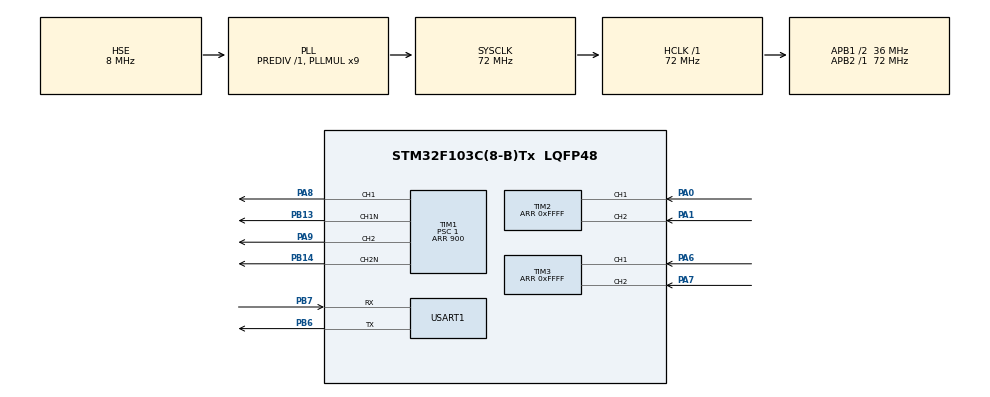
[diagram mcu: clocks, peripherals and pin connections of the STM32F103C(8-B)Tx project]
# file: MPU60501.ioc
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Mcu.Family=STM32F1
Mcu.Name=STM32F103C(8-B)Tx
Mcu.Package=LQFP48
NVIC.PriorityGroup=NVIC_PRIORITYGROUP_2
NVIC.TIM2_IRQn=true\:1\:0\:true\:false\:true\:true
NVIC.TIM3_IRQn=true\:1\:1\:true\:false\:true\:true
PA0-WKUP.Signal=S_TIM2_CH1_ETR
PA1.Signal=S_TIM2_CH2
PA13.Mode=Serial_Wire
PA13.Signal=SYS_JTMS-SWDIO
PA14.Mode=Serial_Wire
PA14.Signal=SYS_JTCK-SWCLK
PA6.Signal=S_TIM3_CH1
PA7.Signal=S_TIM3_CH2
PA8.GPIO_Speed=GPIO_SPEED_FREQ_HIGH
PA8.Signal=S_TIM1_CH1
PA9.GPIO_Speed=GPIO_SPEED_FREQ_HIGH
PA9.Signal=S_TIM1_CH2
PB13.GPIO_Speed=GPIO_SPEED_FREQ_HIGH
PB13.Mode=PWM Generation1 CH1 CH1N
PB13.Signal=TIM1_CH1N
PB14.GPIO_Speed=GPIO_SPEED_FREQ_HIGH
PB14.Mode=PWM Generation2 CH2 CH2N
PB14.Signal=TIM1_CH2N
PB6.Mode=Asynchronous
PB6.Signal=USART1_TX
PB7.Mode=Asynchronous
PB7.Signal=USART1_RX
PD0-OSC_IN.Mode=HSE-External-Oscillator
PD0-OSC_IN.Signal=RCC_OSC_IN
PD1-OSC_OUT.Mode=HSE-External-Oscillator
PD1-OSC_OUT.Signal=RCC_OSC_OUT
ProjectManager.HeapSize=0x200
ProjectManager.StackSize=0x400
ProjectManager.TargetToolchain=MDK-ARM V5
RCC.AHBFreq_Value=72000000
RCC.APB1CLKDivider=RCC_HCLK_DIV2
RCC.APB1Freq_Value=36000000
RCC.APB1TimFreq_Value=72000000
RCC.APB2Freq_Value=72000000
RCC.APB2TimFreq_Value=72000000
RCC.HCLKFreq_Value=72000000
RCC.PLLMUL=RCC_PLL_MUL9
RCC.PLLSourceVirtual=RCC_PLLSOURCE_HSE
RCC.SYSCLKFreq_VALUE=72000000
RCC.SYSCLKSource=RCC_SYSCLKSOURCE_PLLCLK
RCC.USBFreq_Value=72000000
SH.S_TIM1_CH1.0=TIM1_CH1,PWM Generation1 CH1 CH1N
SH.S_TIM1_CH2.0=TIM1_CH2,PWM Generation2 CH2 CH2N
SH.S_TIM2_CH1_ETR.0=TIM2_CH1,Encoder_Interface
SH.S_TIM2_CH2.0=TIM2_CH2,Encoder_Interface
SH.S_TIM3_CH1.0=TIM3_CH1,Encoder_Interface
SH.S_TIM3_CH2.0=TIM3_CH2,Encoder_Interface
TIM1.Channel-PWM\ Generation1\ CH1\ CH1N=TIM_CHANNEL_1
TIM1.Channel-PWM\ Generation2\ CH2\ CH2N=TIM_CHANNEL_2
TIM1.Period=900
TIM1.Prescaler=1
TIM1.Pulse-PWM\ Generation1\ CH1\ CH1N=450
TIM1.Pulse-PWM\ Generation2\ CH2\ CH2N=450
TIM2.EncoderMode=TIM_ENCODERMODE_TI12
TIM2.Period=0xFFFF
TIM3.EncoderMode=TIM_ENCODERMODE_TI12
TIM3.Period=0xFFFF
USART1.VirtualMode=VM_ASYNC
board=MPU60501

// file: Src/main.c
/**
  ******************************************************************************
  * File Name          : main.c xiao lin
  * Description        : Main program body
  ******************************************************************************
  ** This notice applies to any and all portions of this file
  * that are not between comment pairs USER CODE BEGIN and
  * USER CODE END. Other portions of this file, whether
  * inserted by the user or by software development tools
  * are owned by their respective copyright owners.
  *
  * COPYRIGHT(c) 2017 STMicroelectronics
  *
  * Redistribution and use in source and binary forms, with or without modification,
  * are permitted provided that the following conditions are met:
  *   1. Redistributions of source code must retain the above copyright notice,
  *      this list of conditions and the following disclaimer.
  *   2. Redistributions in binary form must reproduce the above copyright notice,
  *      this list of conditions and the following disclaimer in the documentation
  *      and/or other materials provided with the distribution.
  *   3. Neither the name of STMicroelectronics nor the names of its contributors
  *      may be used to endorse or promote products derived from this software
  *      without specific prior written permission.
  *
  * THIS SOFTWARE IS PROVIDED BY THE COPYRIGHT HOLDERS AND CONTRIBUTORS "AS IS"
  * AND ANY EXPRESS OR IMPLIED WARRANTIES, INCLUDING, BUT NOT LIMITED TO, THE
  * IMPLIED WARRANTIES OF MERCHANTABILITY AND FITNESS FOR A PARTICULAR PURPOSE ARE
  * DISCLAIMED. IN NO EVENT SHALL THE COPYRIGHT HOLDER OR CONTRIBUTORS BE LIABLE
  * FOR ANY DIRECT, INDIRECT, INCIDENTAL, SPECIAL, EXEMPLARY, OR CONSEQUENTIAL
  * DAMAGES (INCLUDING, BUT NOT LIMITED TO, PROCUREMENT OF SUBSTITUTE GOODS OR
  * SERVICES; LOSS OF USE, DATA, OR PROFITS; OR BUSINESS INTERRUPTION) HOWEVER
  * CAUSED AND ON ANY THEORY OF LIABILITY, WHETHER IN CONTRACT, STRICT LIABILITY,
  * OR TORT (INCLUDING NEGLIGENCE OR OTHERWISE) ARISING IN ANY WAY OUT OF THE USE
  * OF THIS SOFTWARE, EVEN IF ADVISED OF THE POSSIBILITY OF SUCH DAMAGE.
  *
  ******************************************************************************
  */

#include "main.h"
#include "stm32f1xx_hal.h"
#include "tim.h"
#include "usart.h"
#include "gpio.h"

/* USER CODE BEGIN Includes */
#include "mpuiic.h"
#include "mpu6050.h"
#include "math.h"
#include "kalman.h"
#include "scheduler.h"
#include "usart2.h"
#include "hc05.h"
#include "acquiring.h"
/* USER CODE END Includes */

/* USER CODE BEGIN PV */
/* Private variables ---------------------------------------------------------*/

/* USER CODE END PV */

void SystemClock_Config(void);

/* USER CODE BEGIN PFP */
/* Private function prototypes -----------------------------------------------*/

/* USER CODE END PFP */

/**
  * 函数功能: 主函数.
  * 输入参数: 无
  * 返 回 值: 无
  * 说    明: 无
  */
int main(void)
{

  /* MCU Configuration----------------------------------------------------------*/

  /* Reset of all peripherals, Initializes the Flash interface and the Systick. */

  /* 复位所有外设，初始化Flash接口和系统滴答定时器 */
  HAL_Init();

  /* Configure the system clock */

  /* 配置系统时钟 */
  SystemClock_Config();

  /* Initialize all configured peripherals */
   /* GPIO 初始化 */
  MX_GPIO_Init();

  /* pwm 初始化 */
  MX_TIM1_Init();

  /* 编码器 初始化 */
  MX_TIM2_Init();
  MX_TIM3_Init();

  /* 初始化串口并配置串口中断优先级 */
  MX_USART1_UART_Init();

  /* USER CODE BEGIN 2 */
  /* 初始化 */
	initalize();
  /* USER CODE END 2 */

  /* Infinite loop */
  /* USER CODE BEGIN WHILE */
  while (1)
  {

    /* 任务区 */
		Task_main();
  /* USER CODE END WHILE */

  }

}

/** System Clock Configuration
*/

/**
  * 函数功能: 系统时钟配置
  * 输入参数: 无
  * 返 回 值: 无
  * 说    明: 无
  */
void SystemClock_Config(void)
{

  RCC_OscInitTypeDef RCC_OscInitStruct;
  RCC_ClkInitTypeDef RCC_ClkInitStruct;

    /**Initializes the CPU, AHB and APB busses clocks
    */
  RCC_OscInitStruct.OscillatorType = RCC_OSCILLATORTYPE_HSE;       // 外部晶振，8MHz
  RCC_OscInitStruct.HSEState = RCC_HSE_ON;
  RCC_OscInitStruct.HSEPredivValue = RCC_HSE_PREDIV_DIV1;
  RCC_OscInitStruct.HSIState = RCC_HSI_ON;
  RCC_OscInitStruct.PLL.PLLState = RCC_PLL_ON;
  RCC_OscInitStruct.PLL.PLLSource = RCC_PLLSOURCE_HSE;
  RCC_OscInitStruct.PLL.PLLMUL = RCC_PLL_MUL9;                   // 9倍频，得到72MHz主时钟
  if (HAL_RCC_OscConfig(&RCC_OscInitStruct) != HAL_OK)
  {
    _Error_Handler(__FILE__, __LINE__);
  }

    /**Initializes the CPU, AHB and APB busses clocks
    */
  RCC_ClkInitStruct.ClockType = RCC_CLOCKTYPE_HCLK|RCC_CLOCKTYPE_SYSCLK
                              |RCC_CLOCKTYPE_PCLK1|RCC_CLOCKTYPE_PCLK2;
  RCC_ClkInitStruct.SYSCLKSource = RCC_SYSCLKSOURCE_PLLCLK;        // 系统时钟：72MHz
  RCC_ClkInitStruct.AHBCLKDivider = RCC_SYSCLK_DIV1;               // AHB时钟：72MHz
  RCC_ClkInitStruct.APB1CLKDivider = RCC_HCLK_DIV2;               // APB1时钟：36MHz
  RCC_ClkInitStruct.APB2CLKDivider = RCC_HCLK_DIV1;               // APB2时钟：72MHz

  if (HAL_RCC_ClockConfig(&RCC_ClkInitStruct, FLASH_LATENCY_2) != HAL_OK)
  {
    _Error_Handler(__FILE__, __LINE__);
  }

    /**Configure the Systick interrupt time
    */

     // HAL_RCC_GetHCLKFreq()/1000    1ms中断一次
	   // HAL_RCC_GetHCLKFreq()/100000	 10us中断一次
	   // HAL_RCC_GetHCLKFreq()/1000000 1us中断一次
    HAL_SYSTICK_Config(HAL_RCC_GetHCLKFreq()/1000);   // 配置并启动系统滴答定时器
    /**Configure the Systick
    */

    /* 系统滴答定时器时钟源 */
  HAL_SYSTICK_CLKSourceConfig(SYSTICK_CLKSOURCE_HCLK);

  /* 系统滴答定时器中断优先级配置 */
  /* SysTick_IRQn interrupt configuration */
  HAL_NVIC_SetPriority(SysTick_IRQn, 0, 0);
}

/* USER CODE BEGIN 4 */
/**
  * 函数功能: 实现任务分配时间.
  * 输入参数: 无
  * 返 回 值: 无
  * 说    明: 1ms中断一次
  */
void HAL_SYSTICK_Callback(void)
{
  unsigned char i;

	for (i = 0; i < NumOfTask; i++)
	{
		if (Task_Delay[i] != 0)
		{
			Task_Delay[i]--;
		}
	}
}
/* USER CODE END 4 */

void _Error_Handler(char * file, int line)
{
  while(1)
  {
  }
}

/************************ (C) COPYRIGHT STMicroelectronics *****END OF FILE****/
